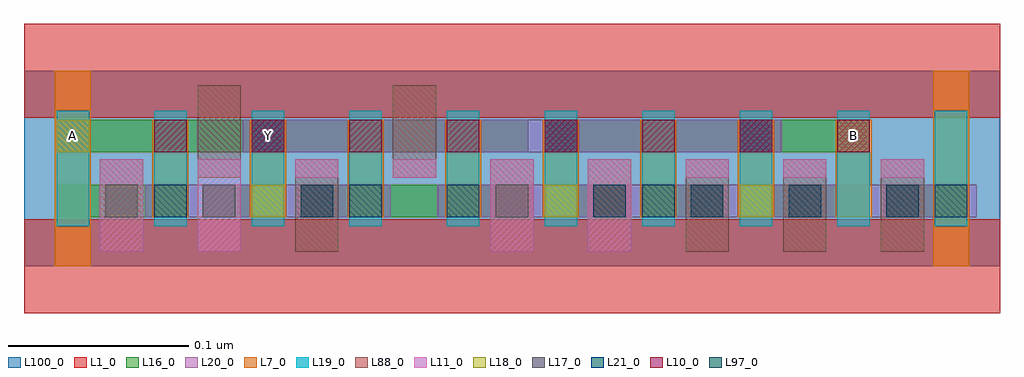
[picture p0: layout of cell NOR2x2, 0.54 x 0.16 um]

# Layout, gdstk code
import gdstk
lib = gdstk.Library(unit=1e-6, precision=2.5e-10)
def R(c, l, rs):  # rectangles x0, y0, x1, y1
    for r in rs: c.add(gdstk.rectangle(r[:2], r[2:], *l))
def A(c, l, x, y, w, h, nx, ny, dx, dy):  # array of equal rectangles
    R(c, l, [(x+i*dx, y+j*dy, x+i*dx+w, y+j*dy+h) for i in range(nx) for j in range(ny)])
L1_0 = (1, 0)
L7_0 = (7, 0)
L10_0 = (10, 0)
L11_0 = (11, 0)
L16_0 = (16, 0)
L17_0 = (17, 0)
L18_0 = (18, 0)
L19_0 = (19, 0)
L20_0 = (20, 0)
L21_0 = (21, 0)
L88_0 = (88, 0)
L97_0 = (97, 0)
L100_0 = (100, 0)

nor2x2 = lib.new_cell('NOR2x2')
R(nor2x2, L1_0, [(0,-0.026,0.54,0.026), (0,0.082,0.54,0.134)])
A(nor2x2, L7_0, 0.071, 0.027, 0.02, 0.054, 8, 1, 0.054, 0)
R(nor2x2, L7_0, [(0.017,0,0.037,0.108), (0.503,0,0.523,0.108)])
A(nor2x2, L10_0, 0.072, 0.063, 0.018, 0.018, 8, 1, 0.054, 0)
A(nor2x2, L11_0, 0.366, 0.049, 0.024, 0.01, 3, 1, 0.054, 0)
R(nor2x2, L11_0, [(0.042,0.008,0.066,0.059), (0.096,0.008,0.12,0.059), (0.258,0.008,0.282,0.059), (0.312,0.008,0.336,0.059), (0.15,0.049,0.174,0.059), (0.204,0.049,0.228,0.059)])
R(nor2x2, L16_0, [(0.018,0.027,0.09,0.045), (0.099,0.027,0.144,0.045), (0.153,0.027,0.279,0.045), (0.288,0.027,0.333,0.045), (0.342,0.027,0.387,0.045), (0.396,0.027,0.468,0.045), (0.477,0.027,0.522,0.045), (0.018,0.063,0.279,0.081), (0.288,0.063,0.468,0.081)])
A(nor2x2, L17_0, 0.045, 0.027, 0.018, 0.018, 3, 1, 0.054, 0)
A(nor2x2, L17_0, 0.261, 0.027, 0.018, 0.018, 5, 1, 0.054, 0)
A(nor2x2, L18_0, 0.072, 0.027, 0.018, 0.018, 7, 1, 0.054, 0)
R(nor2x2, L18_0, [(0.504,0.027,0.522,0.045), (0.018,0.063,0.036,0.081), (0.45,0.063,0.468,0.081)])
A(nor2x2, L19_0, 0.018, 0.022, 0.018, 0.064, 10, 1, 0.054, 0)
R(nor2x2, L20_0, [(0.067,0.027,0.203,0.045), (0.229,0.027,0.527,0.045), (0.121,0.063,0.419,0.081)])
R(nor2x2, L21_0, [(0.072,0.027,0.09,0.045), (0.18,0.027,0.198,0.045), (0.234,0.027,0.252,0.045), (0.342,0.027,0.36,0.045), (0.504,0.027,0.522,0.045), (0.126,0.063,0.144,0.081), (0.288,0.063,0.306,0.081), (0.396,0.063,0.414,0.081)])
A(nor2x2, L88_0, 0.042, 0.008, 0.024, 0.051, 3, 1, 0.108, 0)
A(nor2x2, L88_0, 0.312, 0.008, 0.024, 0.051, 4, 1, 0.054, 0)
R(nor2x2, L88_0, [(0.096,0.049,0.12,0.1), (0.204,0.049,0.228,0.1)])
A(nor2x2, L97_0, 0.315, 0.027, 0.018, 0.018, 4, 1, 0.054, 0)
R(nor2x2, L97_0, [(0.153,0.027,0.171,0.045)])
R(nor2x2, L100_0, [(0,0,0.54,0.108)])
nor2x2.add(gdstk.Label('A', (0.027,0.072), layer=19, texttype=251))
nor2x2.add(gdstk.Label('B', (0.459,0.072), layer=19, texttype=251))
nor2x2.add(gdstk.Label('Y', (0.135,0.072), layer=19, texttype=251))

lib.write_gds('NOR2x2.gds')
